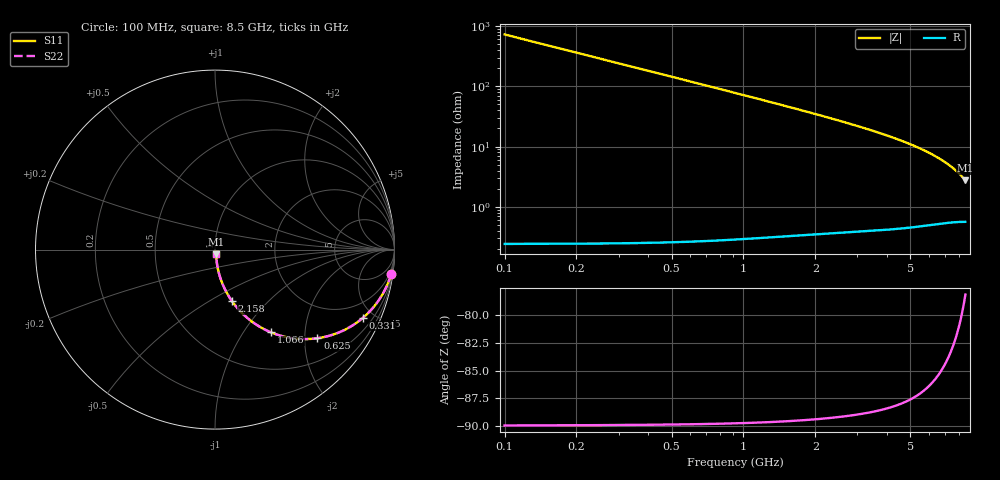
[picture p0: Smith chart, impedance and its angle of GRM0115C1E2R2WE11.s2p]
!Murata Part Number: GRM0115C1E2R2WE11
!These Parameters are Measured in Series Mode Connection
!Data Generated on Mar 30, 2021
!  o--ll--o
!Port1  Port2
!  o------o
!Operation Temp=25[degC], DC Bias Voltage=0[V]
!Freq. Start=100[MHz] Stop=9[GHz] 401[Steps]
# Hz S RI R 50
!Freq.(Hz) S11(Real) S11(Imag) S21(Real) S21(Imag) S12(Real) S12(Imag) S22(Real) S22(Imag)
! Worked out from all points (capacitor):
!   401 points, 100 MHz to 8.5 GHz, reference 50 ohm
!   read as one part in series: C = 2.2 pF near 142 MHz
!   lowest |Z| = 2.74 ohm at 8.5 GHz (marker M1)
!   S11 on the Smith chart (normalised r, x): 100 MHz: 1, -14; 331 MHz: 1.00, -4.37; 625 MHz: 1.01, -2.31; 1.066 GHz: 1.01, -1.34; 2.158 GHz: 1.01, -0.64; 8.5 GHz: 1.01, -0.05
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1e8  0.9812 -0.1356  0.0188 0.1356  0.0188 0.1356  0.9812 -0.1356
1.21e8  0.9727 -0.1627  0.0273 0.1627  0.0273 0.1627  0.9727 -0.1627
1.84e8  0.9391 -0.2389  0.0609 0.2389  0.0609 0.2389  0.9391 -0.2389
2.26e8  0.9108 -0.2846  0.0892 0.2846  0.0892 0.2846  0.9108 -0.2846
2.68e8  0.8789 -0.3258  0.1211 0.3258  0.1211 0.3258  0.8789 -0.3258
3.31e8  0.8263 -0.3783  0.1737 0.3783  0.1737 0.3783  0.8263 -0.3783
3.94e8  0.7703 -0.4199  0.2297 0.4199  0.2297 0.4199  0.7703 -0.4199
4.57e8  0.7135 -0.4513  0.2865 0.4513  0.2865 0.4513  0.7135 -0.4513
5.41e8  0.6396 -0.4791  0.3604 0.4791  0.3604 0.4791  0.6396 -0.4791
6.25e8  0.5704 -0.4939  0.4296 0.4939  0.4296 0.4939  0.5704 -0.4939
8.35e8  0.4253 -0.4928  0.5747 0.4928  0.5747 0.4928  0.4253 -0.4928
1.066e9  0.3109 -0.4606  0.6891 0.4606  0.6891 0.4606  0.3109 -0.4606
1.276e9  0.2382 -0.4232  0.7618 0.4232  0.7618 0.4232  0.2382 -0.4232
1.507e9  0.1818 -0.3822  0.8182 0.3822  0.8182 0.3822  0.1818 -0.3822
1.801e9  0.1332 -0.3354  0.8668 0.3354  0.8668 0.3354  0.1332 -0.3354
2.158e9  0.0952 -0.2879  0.9048 0.2879  0.9048 0.2879  0.0952 -0.2879
2.914e9  0.0524 -0.2145  0.9476 0.2145  0.9476 0.2145  0.0524 -0.2145
4.3e9  0.0226 -0.1339  0.9774 0.1339  0.9774 0.1339  0.0226 -0.1339
5.707e9  0.0121 -0.0851  0.9879 0.0851  0.9879 0.0851  0.0121 -0.0851
7.114e9  0.00805 -0.0515  0.9919 0.0515  0.9919 0.0515  0.00805 -0.0515
7.828e9  0.007 -0.0379  0.993 0.0379  0.993 0.0379  0.007 -0.0379
8.5e9  0.00632 -0.0265  0.9937 0.0265  0.9937 0.0265  0.00632 -0.0265
